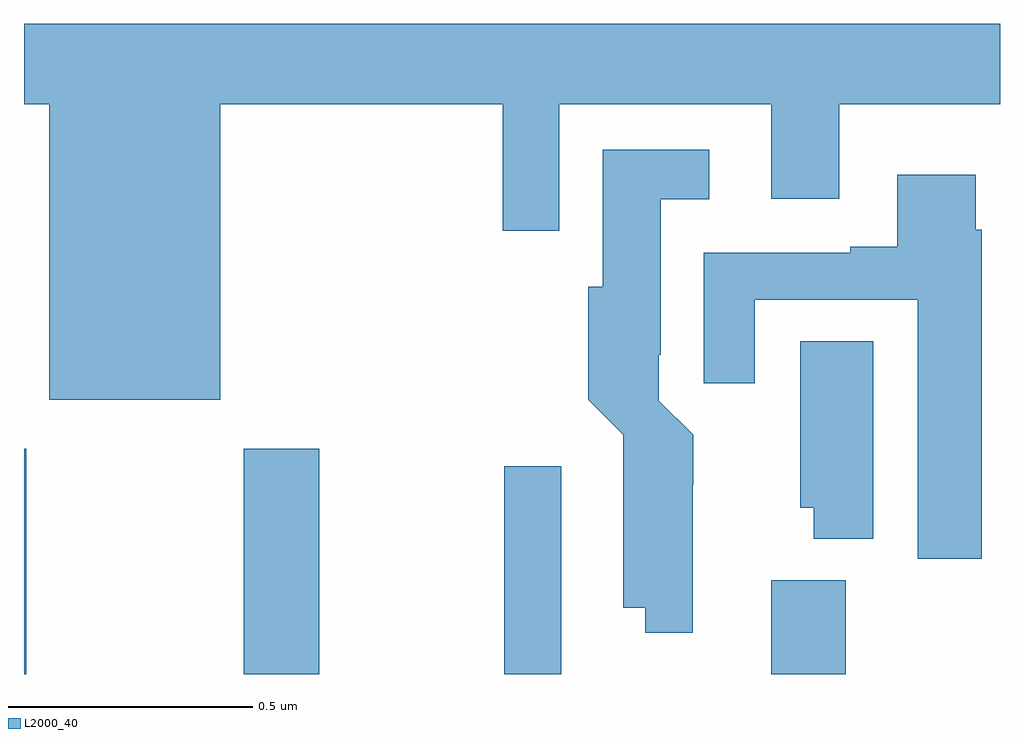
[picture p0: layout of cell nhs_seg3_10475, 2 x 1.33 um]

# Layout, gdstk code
import gdstk
lib = gdstk.Library(unit=1e-6, precision=1e-09)
def R(c, l, rs):  # rectangles x0, y0, x1, y1
    for r in rs: c.add(gdstk.rectangle(r[:2], r[2:], *l))
def P(c, l, *ps):  # polygons
    for p in ps: c.add(gdstk.Polygon(p, *l))
L2000_40 = (2000, 40)

nhs_seg3_10475 = lib.new_cell('nhs_seg3_10475')
R(nhs_seg3_10475, L2000_40, [(241,714.4,241.005,714.862), (241.45,714.4,241.605,714.862), (241.984,714.4,242.101,714.826), (242.531,714.4,242.684,714.592)])
P(nhs_seg3_10475, L2000_40, [(241.402,715.568),(241.981,715.568),(241.981,715.308),(242.097,715.308),(242.097,715.568),(242.531,715.568),(242.531,715.374),(242.671,715.374),(242.671,715.568),(243,715.568),(243,715.732),(241,715.732),(241,715.568),(241.052,715.568),(241.052,714.962),(241.402,714.962)],
  [(242.37,714.788),(242.371,714.788),(242.371,714.89),(242.301,714.96),(242.301,715.054),(242.305,715.054),(242.305,715.373),(242.404,715.373),(242.404,715.474),(242.186,715.474),(242.186,715.194),(242.156,715.194),(242.156,714.962),(242.228,714.89),(242.228,714.536),(242.273,714.536),(242.273,714.485),(242.37,714.485)],
  [(242.963,715.31),(242.95,715.31),(242.95,715.423),(242.789,715.423),(242.789,715.276),(242.693,715.276),(242.693,715.263),(242.393,715.263),(242.393,714.996),(242.497,714.996),(242.497,715.167),(242.831,715.167),(242.831,714.636),(242.963,714.636)],
  [(242.74,715.082),(242.591,715.082),(242.591,714.741),(242.618,714.741),(242.618,714.677),(242.74,714.677)])

lib.write_gds('nhs_seg3_10475.gds')
